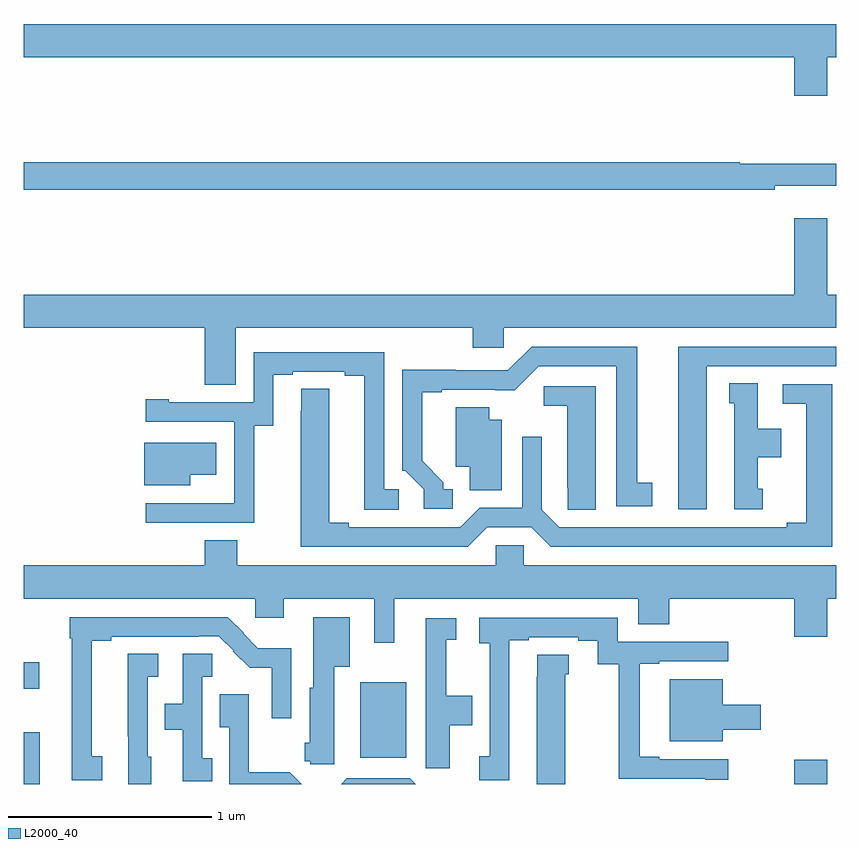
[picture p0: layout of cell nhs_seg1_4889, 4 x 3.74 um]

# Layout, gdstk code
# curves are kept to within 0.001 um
import gdstk
lib = gdstk.Library(unit=1e-6, precision=1e-09)
def R(c, l, rs):  # rectangles x0, y0, x1, y1
    for r in rs: c.add(gdstk.rectangle(r[:2], r[2:], *l))
def P(c, l, *ps):  # polygons
    for p in ps: c.add(gdstk.Polygon(p, *l))
L2000_40 = (2000, 40)

nhs_seg1_4889 = lib.new_cell('nhs_seg1_4889')
R(nhs_seg1_4889, L2000_40, [(377,504.199,377.08,504.453), (380.792,504.199,380.956,504.319), (378.656,504.329,378.883,504.7), (377,504.668,377.077,504.798)])
P(nhs_seg1_4889, L2000_40, [(380.956,507.776),(381,507.776),(381,507.94),(377,507.94),(377,507.776),(380.792,507.776),(380.792,507.588),(380.956,507.588)],
  [(380.696,507.143),(381,507.143),(381,507.253),(380.524,507.253),(380.524,507.26),(377,507.26),(377,507.124),(380.696,507.124)],
  [(378.043,506.444),(379.211,506.444),(379.211,506.346),(379.362,506.346),(379.362,506.444),(381,506.444),(381,506.608),(380.956,506.608),(380.956,506.983),(380.792,506.983),(380.792,506.608),(377,506.608),(377,506.444),(377.891,506.444),(377.891,506.164),(378.043,506.164)],
  [(379.111,505.65),(379.066,505.65),(379.066,505.685),(378.961,505.79),(378.961,506.127),(379.057,506.127),(379.057,506.139),(379.418,506.138),(379.536,506.256),(379.916,506.256),(379.916,505.566),(380.095,505.566),(380.095,505.682),(380.02,505.682),(380.02,506.352),(379.5,506.352),(379.383,506.235),(379.127,506.235),(379.127,506.237),(378.864,506.237),(378.864,505.74),(378.879,505.74),(378.969,505.65),(378.969,505.554),(379.111,505.554)],
  [(380.362,506.256),(381,506.256),(381,506.352),(380.222,506.352),(380.222,505.551),(380.362,505.551)],
  [(378.135,505.963),(378.229,505.963),(378.229,506.214),(378.325,506.214),(378.325,506.229),(378.581,506.229),(378.581,506.209),(378.677,506.209),(378.677,505.549),(378.847,505.549),(378.847,505.65),(378.774,505.65),(378.774,506.325),(378.132,506.325),(378.132,506.079),(377.713,506.079),(377.713,506.092),(377.601,506.092),(377.601,505.983),(378.036,505.983),(378.036,505.582),(378.035,505.582),(378.035,505.581),(377.601,505.581),(377.601,505.485),(378.135,505.485)],
  [(380.638,505.653),(380.614,505.653),(380.614,505.808),(380.728,505.808),(380.728,505.948),(380.614,505.948),(380.614,506.171),(380.474,506.171),(380.474,506.073),(380.498,506.073),(380.498,505.551),(380.638,505.551)],
  [(379.281,505.464),(379.499,505.464),(379.595,505.368),(380.98,505.368),(380.98,506.166),(380.736,506.166),(380.736,506.07),(380.852,506.07),(380.852,505.484),(380.756,505.484),(380.756,505.464),(379.635,505.464),(379.551,505.548),(379.551,505.909),(379.455,505.909),(379.455,505.56),(379.245,505.56),(379.149,505.464),(378.601,505.464),(378.601,505.484),(378.505,505.484),(378.505,506.144),(378.366,506.144),(378.365,505.368),(379.185,505.368)],
  [(379.816,506.157),(379.56,506.157),(379.56,506.06),(379.676,506.06),(379.676,505.657),(379.677,505.657),(379.677,505.549),(379.816,505.549)],
  [(379.354,505.993),(379.291,505.993),(379.291,506.054),(379.127,506.054),(379.127,505.76),(379.196,505.76),(379.196,505.645),(379.354,505.645)],
  [(377.821,505.721),(377.947,505.721),(377.947,505.879),(377.594,505.879),(377.594,505.67),(377.821,505.67)],
  [(378.823,505.112),(380.024,505.112),(380.024,504.985),(380.177,504.985),(380.177,505.112),(380.792,505.112),(380.792,504.924),(380.956,504.924),(380.956,505.112),(381,505.112),(381,505.276),(379.461,505.276),(379.461,505.374),(379.323,505.374),(379.323,505.276),(378.051,505.276),(378.051,505.4),(377.891,505.4),(377.891,505.276),(377,505.276),(377,505.112),(378.141,505.112),(378.141,505.017),(378.28,505.017),(378.28,505.112),(378.726,505.112),(378.726,504.894),(378.823,504.894)],
  [(378.529,504.776),(378.604,504.776),(378.604,505.021),(378.426,505.021),(378.426,504.672),(378.407,504.672),(378.407,504.402),(378.383,504.402),(378.383,504.312),(378.411,504.312),(378.411,504.297),(378.529,504.297)],
  [(377.386,504.336),(377.336,504.336),(377.336,504.904),(377.431,504.904),(377.431,504.924),(377.861,504.924),(377.861,504.927),(377.961,504.927),(378.033,504.855),(378.03,504.852),(378.113,504.77),(378.222,504.77),(378.222,504.522),(378.318,504.522),(378.318,504.868),(378.153,504.868),(378.08,504.941),(378.082,504.943),(378.004,505.02),(377.226,505.02),(377.226,504.917),(377.237,504.917),(377.237,504.217),(377.386,504.217)],
  [(379.389,504.325),(379.39,504.325),(379.39,504.906),(379.486,504.906),(379.486,504.921),(379.73,504.921),(379.73,504.903),(379.826,504.903),(379.826,504.788),(379.93,504.788),(379.93,504.225),(380.354,504.225),(380.354,504.22),(380.467,504.22),(380.467,504.321),(380.128,504.321),(380.128,504.334),(380.032,504.334),(380.032,504.792),(380.128,504.792),(380.128,504.804),(380.467,504.804),(380.467,504.9),(379.923,504.9),(379.923,505.017),(379.242,505.017),(379.242,504.893),(379.293,504.893),(379.293,504.336),(379.242,504.336),(379.242,504.217),(379.389,504.217)],
  [(379.096,504.487),(379.208,504.487),(379.208,504.634),(379.079,504.634),(379.079,504.909),(379.129,504.909),(379.129,505.015),(378.98,505.015),(378.98,504.276),(379.096,504.276)],
  [(377.927,504.326),(377.88,504.326),(377.88,504.728),(377.929,504.728),(377.929,504.839),(377.784,504.839),(377.784,504.595),(377.695,504.595),(377.695,504.466),(377.783,504.466),(377.783,504.213),(377.927,504.213)],
  [(377.629,504.333),(377.61,504.333),(377.61,504.728),(377.662,504.728),(377.662,504.839),(377.513,504.839),(377.513,504.433),(377.514,504.433),(377.514,504.199),(377.629,504.199)],
  [(379.666,504.738),(379.684,504.738),(379.684,504.836),(379.527,504.836),(379.527,504.728),(379.526,504.728),(379.526,504.199),(379.666,504.199)],
  [(380.44,504.467),(380.629,504.467),(380.629,504.589),(380.44,504.589),(380.44,504.715),(380.18,504.715),(380.18,504.41),(380.44,504.41)],
  [(378.31,504.257),(378.108,504.257),(378.108,504.64),(377.965,504.64),(377.965,504.479),(378.012,504.479),(378.012,504.199),(378.368,504.199)],
  [(378.9,504.228),(378.591,504.228),(378.562,504.199),(378.929,504.199)])

lib.write_gds('nhs_seg1_4889.gds')
